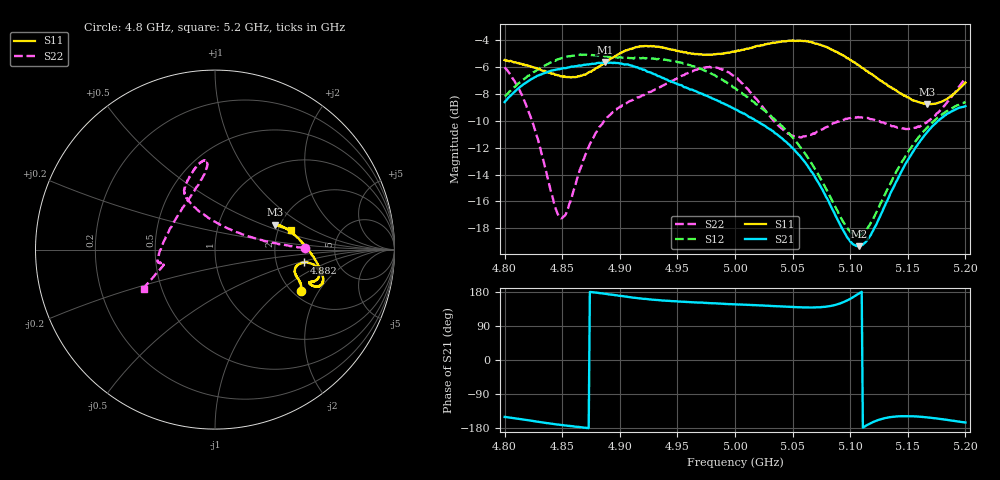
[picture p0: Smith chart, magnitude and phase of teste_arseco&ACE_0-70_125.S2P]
! Network Analyzer HP8722D
! Hewlett-Packard
! Data name: Linha & Wilkinson
! Saver's name: Rodrigo Anjos
! Comments: Teste da utilização de aquisição
! continua pelo VNA HP8722D
! Time and date: 8/5/2025 13:48
!  Frequency  S11  S21  S12  S22
# HZ  S  MA R 50
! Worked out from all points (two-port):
!   401 points, 4.8 GHz to 5.2 GHz, reference 50 ohm
!   highest |S21| = -5.64 dB at 4.887 GHz (marker M1); lowest = -19.3 dB at 5.108 GHz (marker M2)
!   |S21| within 3 dB of the highest: start of sweep to 4.988 GHz
!   lowest |S11| = -8.8 dB at 5.167 GHz (marker M3), VSWR 2.14, Z = 94.3 + j30.3 ohm
!   |S11| at or under -10 dB: nowhere
!   |S22| runs from -17.3 to -6.0 dB; largest |S21 - S12| = 1.1
!   S11 on the Smith chart (normalised r, x): 4.8 GHz: 2.22, -1.42; 4.882 GHz: 2.91, -0.56; 5.2 GHz: 2.35, +0.64
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4.8e9  0.5314 -25.6  0.371 -150.3  0.3902 9.0  0.499 1.0
4.821e9  0.5059 -20.7  0.445 -159.3  0.4645 6.0  0.3401 6.0
4.843e9  0.4714 -17.6  0.4877 -169.1  0.5288 2.7  0.1553 38.6
4.848e9  0.4633 -16.2  0.4912 -170.9  0.5374 1.8  0.1384 58.2
4.854e9  0.4595 -14.7  0.4972 -173.3  0.5471 0.7  0.1458 82.1
4.867e9  0.4651 -11.0  0.5075 -177.8  0.5551 -1.2  0.2163 110.2
4.882e9  0.5033 -8.2  0.5189 176.7  0.553 -2.1  0.2989 118.0
4.887e9  0.5184 -7.8  0.5224 174.6  0.5489 -2.3  0.3169 118.7
4.913e9  0.5916 -11.6  0.5023 164.2  0.542 -1.8  0.3812 116.4
4.934e9  0.595 -16.2  0.4628 157.8  0.5363 -2.5  0.419 110.6
4.974e9  0.5557 -19.1  0.394 150.8  0.4848 -6.2  0.497 98.1
5e9  0.5728 -20.1  0.3491 146.9  0.4184 -6.1  0.4616 95.6
5.044e9  0.623 -18.1  0.2647 140.7  0.2921 2.0  0.2863 132.1
5.067e9  0.6174 -13.8  0.2034 138.6  0.2181 8.9  0.2816 164.9
5.096e9  0.5454 -3.6  0.1196 155.3  0.1287 35.7  0.3217 -171.8
5.108e9  0.5055 1.9  0.1081 176.3  0.1186 59.1  0.3249 -168.1
5.118e9  0.4721 7.0  0.1192 -166.2  0.1323 77.8  0.3205 -166.7
5.134e9  0.4241 14.8  0.166 -150.9  0.1817 94.6  0.3049 -166.1
5.151e9  0.3851 20.7  0.2293 -148.2  0.2451 100.1  0.2946 -164.7
5.167e9  0.364 22.5  0.287 -151.6  0.2989 101.1  0.3137 -161.5
5.183e9  0.3788 20.2  0.3321 -157.6  0.3416 101.2  0.3645 -157.0
5.2e9  0.4376 14.6  0.358 -164.9  0.3719 101.6  0.4543 -151.1
